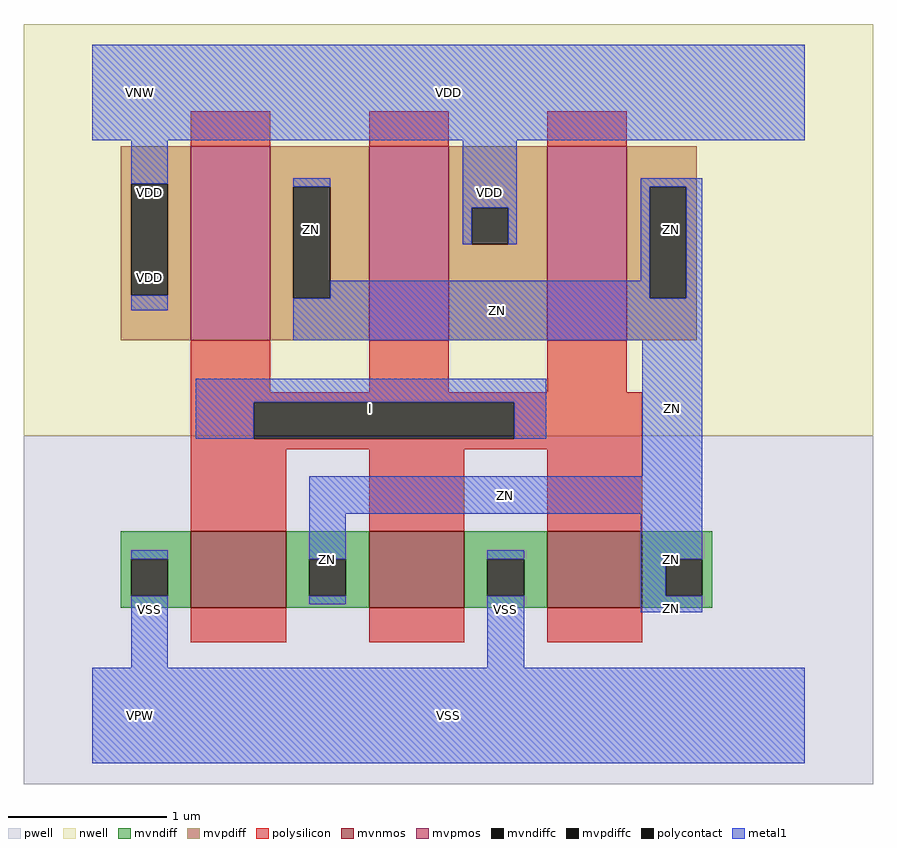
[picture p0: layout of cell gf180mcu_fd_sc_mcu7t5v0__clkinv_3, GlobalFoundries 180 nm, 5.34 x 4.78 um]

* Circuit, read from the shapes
.subckt gf180mcu_fd_sc_mcu7t5v0__clkinv_3 I ZN VDD VNW VPW VSS
XM1 ZN I VSS VPW nfet_06v0 w=0.48u l=0.6u m=3
XM2 ZN I VDD VNW pfet_06v0 w=1.22u l=0.5u m=3
.ends

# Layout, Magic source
magic
tech gf180mcuD
magscale 1 10
<< nwell >>
rect -86 352 982 870
<< pwell >>
rect -86 -86 982 352
<< mvnmos >>
rect 124 136 244 232
rect 348 136 468 232
rect 572 136 692 232
<< mvpmos >>
rect 124 472 224 716
rect 348 472 448 716
rect 572 472 672 716
<< mvndiff >>
rect 36 197 124 232
rect 36 151 49 197
rect 95 151 124 197
rect 36 136 124 151
rect 244 197 348 232
rect 244 151 273 197
rect 319 151 348 197
rect 244 136 348 151
rect 468 197 572 232
rect 468 151 497 197
rect 543 151 572 197
rect 468 136 572 151
rect 692 197 780 232
rect 692 151 721 197
rect 767 151 780 197
rect 692 136 780 151
<< mvpdiff >>
rect 36 669 124 716
rect 36 529 49 669
rect 95 529 124 669
rect 36 472 124 529
rect 224 665 348 716
rect 224 525 253 665
rect 299 525 348 665
rect 224 472 348 525
rect 448 639 572 716
rect 448 593 477 639
rect 523 593 572 639
rect 448 472 572 593
rect 672 665 760 716
rect 672 525 701 665
rect 747 525 760 665
rect 672 472 760 525
<< mvndiffc >>
rect 49 151 95 197
rect 273 151 319 197
rect 497 151 543 197
rect 721 151 767 197
<< mvpdiffc >>
rect 49 529 95 669
rect 253 525 299 665
rect 477 593 523 639
rect 701 525 747 665
<< polysilicon >>
rect 124 716 224 760
rect 348 716 448 760
rect 572 716 672 760
rect 124 407 224 472
rect 348 407 448 472
rect 572 407 672 472
rect 124 394 692 407
rect 124 348 203 394
rect 531 348 692 394
rect 124 335 692 348
rect 124 232 244 335
rect 348 232 468 335
rect 572 232 692 335
rect 124 92 244 136
rect 348 92 468 136
rect 572 92 692 136
<< polycontact >>
rect 203 348 531 394
<< metal1 >>
rect 0 724 896 844
rect 49 669 95 724
rect 49 510 95 529
rect 253 665 299 676
rect 466 639 534 724
rect 466 593 477 639
rect 523 593 534 639
rect 690 665 767 676
rect 690 547 701 665
rect 299 525 701 547
rect 747 525 767 665
rect 253 472 767 525
rect 130 394 571 424
rect 130 348 203 394
rect 531 348 571 394
rect 692 301 767 472
rect 273 254 767 301
rect 49 197 95 208
rect 49 60 95 151
rect 273 197 319 254
rect 273 140 319 151
rect 497 197 543 208
rect 497 60 543 151
rect 690 197 767 254
rect 690 151 721 197
rect 690 130 767 151
rect 0 -60 896 60
<< labels >>
flabel metal1 s 0 724 896 844 0 FreeSans 600 0 0 0 VDD
port 3 nsew power bidirectional abutment
flabel metal1 s 690 547 767 676 0 FreeSans 600 0 0 0 ZN
port 2 nsew default output
flabel metal1 s 130 348 571 424 0 FreeSans 600 0 0 0 I
port 1 nsew default input
flabel metal1 s 497 60 543 208 0 FreeSans 600 0 0 0 VSS
port 6 nsew ground bidirectional abutment
flabel nwell s 10 734 110 834 0 FreeSans 400 0 0 0 VNW
port 4 nsew power bidirectional
flabel pwell s 10 -50 110 50 0 FreeSans 400 0 0 0 VPW
port 5 nsew ground bidirectional
rlabel metal1 s 253 547 299 676 1 ZN
port 2 nsew default output
rlabel metal1 s 253 472 767 547 1 ZN
port 2 nsew default output
rlabel metal1 s 692 301 767 472 1 ZN
port 2 nsew default output
rlabel metal1 s 273 254 767 301 1 ZN
port 2 nsew default output
rlabel metal1 s 690 140 767 254 1 ZN
port 2 nsew default output
rlabel metal1 s 273 140 319 254 1 ZN
port 2 nsew default output
rlabel metal1 s 690 130 767 140 1 ZN
port 2 nsew default output
rlabel metal1 s 466 593 534 724 1 VDD
port 3 nsew power bidirectional abutment
rlabel metal1 s 49 593 95 724 1 VDD
port 3 nsew power bidirectional abutment
rlabel metal1 s 49 510 95 593 1 VDD
port 3 nsew power bidirectional abutment
rlabel metal1 s 49 60 95 208 1 VSS
port 6 nsew ground bidirectional abutment
rlabel metal1 s 0 -60 896 60 1 VSS
port 6 nsew ground bidirectional abutment
<< properties >>
string FIXED_BBOX 0 0 896 784
string GDS_END 823036
string GDS_FILE $PDKPATH/libs.ref/gf180mcu_fd_sc_mcu7t5v0/gds/gf180mcu_fd_sc_mcu7t5v0.gds
string GDS_START 820104
string LEFclass core
string LEFsite GF018hv5v_mcu_sc7
string LEFsymmetry X Y
<< end >>
